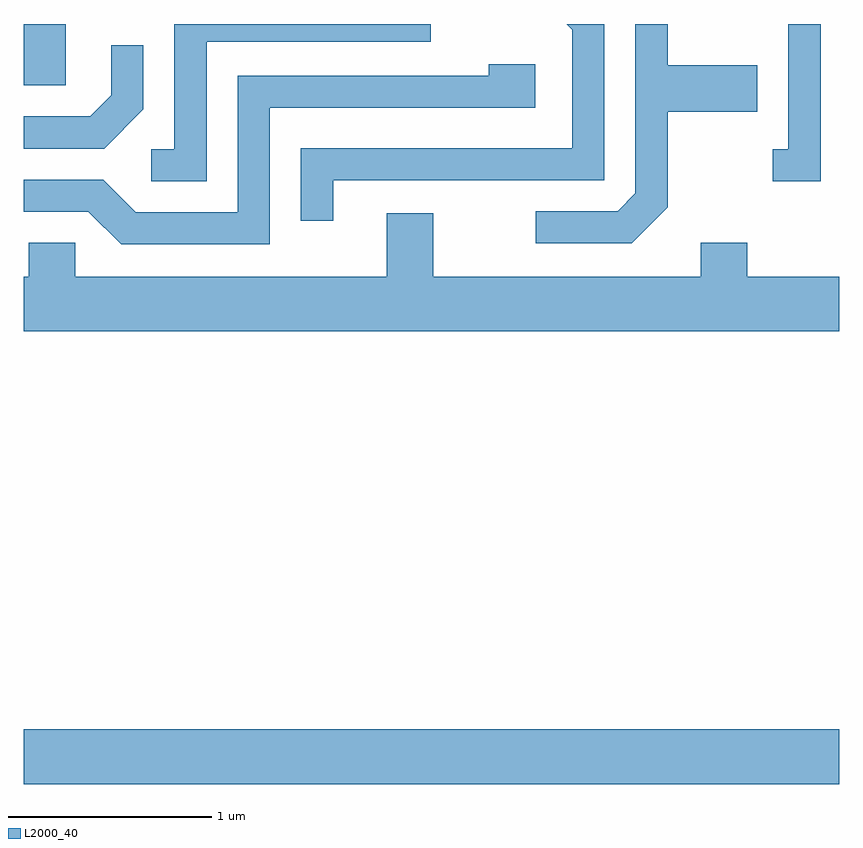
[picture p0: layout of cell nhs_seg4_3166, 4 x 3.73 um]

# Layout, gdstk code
import gdstk
lib = gdstk.Library(unit=1e-6, precision=1e-09)
def R(c, l, rs):  # rectangles x0, y0, x1, y1
    for r in rs: c.add(gdstk.rectangle(r[:2], r[2:], *l))
def P(c, l, *ps):  # polygons
    for p in ps: c.add(gdstk.Polygon(p, *l))
L2000_40 = (2000, 40)

nhs_seg4_3166 = lib.new_cell('nhs_seg4_3166')
R(nhs_seg4_3166, L2000_40, [(277.611,1330.256,281.611,1330.524), (277.611,1333.681,277.819,1333.982)])
P(nhs_seg4_3166, L2000_40, [(278.509,1333.896),(279.608,1333.896),(279.608,1333.982),(278.351,1333.982),(278.351,1333.369),(278.238,1333.369),(278.238,1333.211),(278.509,1333.211)],
  [(281.519,1333.982),(281.361,1333.982),(281.361,1333.369),(281.283,1333.369),(281.283,1333.211),(281.519,1333.211)],
  [(279.129,1333.216),(280.459,1333.216),(280.459,1333.982),(280.273,1333.982),(280.301,1333.954),(280.301,1333.374),(278.971,1333.374),(278.971,1333.018),(279.129,1333.018)],
  [(280.769,1333.084),(280.769,1333.551),(281.209,1333.551),(281.209,1333.779),(280.769,1333.779),(280.769,1333.982),(280.611,1333.982),(280.611,1333.152),(280.524,1333.064),(280.123,1333.064),(280.123,1332.906),(280.592,1332.906)],
  [(278.199,1333.564),(278.199,1333.878),(278.041,1333.878),(278.041,1333.632),(277.939,1333.529),(277.611,1333.529),(277.611,1333.371),(278.007,1333.371)],
  [(278.819,1333.571),(280.119,1333.571),(280.119,1333.784),(279.891,1333.784),(279.891,1333.729),(278.661,1333.729),(278.661,1333.059),(278.162,1333.059),(278.002,1333.219),(277.611,1333.219),(277.611,1333.061),(277.929,1333.061),(278.089,1332.901),(278.819,1332.901)],
  [(281.611,1332.744),(281.159,1332.744),(281.159,1332.909),(280.931,1332.909),(280.931,1332.744),(279.619,1332.744),(279.619,1333.054),(279.391,1333.054),(279.391,1332.744),(277.864,1332.744),(277.864,1332.909),(277.636,1332.909),(277.636,1332.744),(277.611,1332.744),(277.611,1332.476),(281.611,1332.476)])

lib.write_gds('nhs_seg4_3166.gds')
